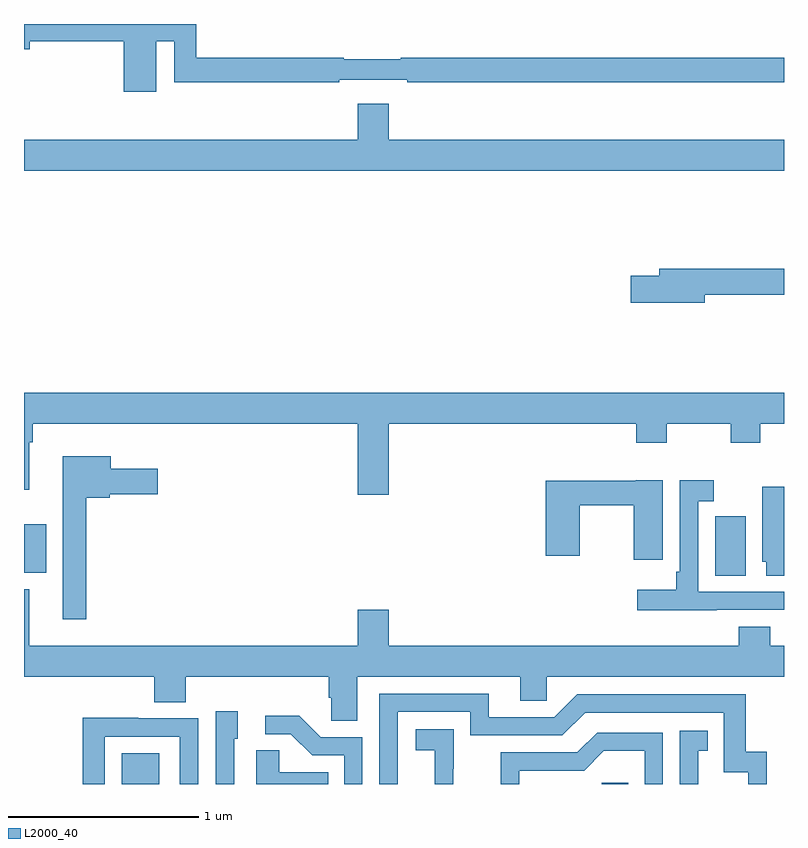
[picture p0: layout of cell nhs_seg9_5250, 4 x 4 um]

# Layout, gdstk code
import gdstk
lib = gdstk.Library(unit=1e-6, precision=1e-09)
def R(c, l, rs):  # rectangles x0, y0, x1, y1
    for r in rs: c.add(gdstk.rectangle(r[:2], r[2:], *l))
def P(c, l, *ps):  # polygons
    for p in ps: c.add(gdstk.Polygon(p, *l))
L2000_40 = (2000, 40)

nhs_seg9_5250 = lib.new_cell('nhs_seg9_5250')
R(nhs_seg9_5250, L2000_40, [(415.514,1218.5,415.711,1218.661), (418.041,1218.5,418.181,1218.507), (418.637,1219.597,418.798,1219.908), (415,1219.613,415.117,1219.867)])
P(nhs_seg9_5250, L2000_40, [(415.696,1222.408),(415.791,1222.408),(415.791,1222.194),(416.66,1222.194),(416.66,1222.206),(417.016,1222.206),(417.016,1222.194),(419,1222.194),(419,1222.322),(416.984,1222.322),(416.984,1222.315),(416.684,1222.315),(416.684,1222.322),(415.907,1222.322),(415.907,1222.5),(415,1222.5),(415,1222.366),(415.03,1222.366),(415.03,1222.408),(415.526,1222.408),(415.526,1222.143),(415.696,1222.143)],
  [(419,1221.892),(416.92,1221.892),(416.92,1222.081),(416.756,1222.081),(416.756,1221.892),(415,1221.892),(415,1221.728),(419,1221.728)],
  [(418.582,1221.076),(419,1221.076),(419,1221.212),(418.343,1221.212),(418.343,1221.176),(418.194,1221.176),(418.194,1221.034),(418.582,1221.034)],
  [(416.92,1220.396),(418.223,1220.396),(418.223,1220.297),(418.383,1220.297),(418.383,1220.396),(418.72,1220.396),(418.72,1220.297),(418.875,1220.297),(418.875,1220.396),(419,1220.396),(419,1220.56),(415,1220.56),(415,1220.049),(415.027,1220.049),(415.027,1220.3),(415.045,1220.3),(415.045,1220.396),(416.756,1220.396),(416.756,1220.022),(416.92,1220.022)],
  [(415.327,1220.006),(415.452,1220.006),(415.452,1220.024),(415.705,1220.024),(415.705,1220.158),(415.456,1220.158),(415.456,1220.224),(415.205,1220.224),(415.205,1219.368),(415.327,1219.368)],
  [(418.645,1219.416),(419,1219.416),(419,1219.512),(418.548,1219.512),(418.548,1219.989),(418.63,1219.989),(418.63,1220.098),(418.452,1220.098),(418.452,1219.618),(418.432,1219.618),(418.432,1219.522),(418.227,1219.522),(418.227,1219.415),(418.645,1219.415)],
  [(418.363,1220.098),(418.221,1220.098),(418.221,1220.095),(417.746,1220.095),(417.746,1219.701),(417.924,1219.701),(417.924,1219.966),(418.21,1219.966),(418.21,1219.68),(418.363,1219.68)],
  [(419,1220.065),(418.886,1220.065),(418.886,1219.671),(418.907,1219.671),(418.907,1219.597),(419,1219.597)],
  [(416.755,1219.064),(417.611,1219.064),(417.611,1218.937),(417.75,1218.937),(417.75,1219.064),(419,1219.064),(419,1219.228),(418.928,1219.228),(418.928,1219.327),(418.763,1219.327),(418.763,1219.228),(416.92,1219.228),(416.92,1219.417),(416.756,1219.417),(416.756,1219.228),(415.027,1219.228),(415.027,1219.525),(415,1219.525),(415,1219.064),(415.685,1219.064),(415.685,1218.931),(415.85,1218.931),(415.85,1219.064),(416.603,1219.064),(416.603,1218.955),(416.616,1218.955),(416.616,1218.832),(416.755,1218.832)],
  [(416.967,1218.879),(417.348,1218.879),(417.348,1218.756),(417.834,1218.756),(417.954,1218.876),(418.683,1218.876),(418.683,1218.561),(418.812,1218.561),(418.812,1218.5),(418.91,1218.5),(418.91,1218.67),(418.799,1218.67),(418.799,1218.972),(417.912,1218.972),(417.792,1218.852),(417.445,1218.852),(417.445,1218.975),(416.871,1218.975),(416.871,1218.5),(416.967,1218.5)],
  [(416.106,1218.738),(416.125,1218.738),(416.125,1218.883),(416.01,1218.883),(416.01,1218.5),(416.106,1218.5)],
  [(416.781,1218.747),(416.562,1218.747),(416.449,1218.86),(416.271,1218.86),(416.271,1218.762),(416.405,1218.762),(416.516,1218.651),(416.685,1218.651),(416.685,1218.5),(416.781,1218.5)],
  [(415.425,1218.75),(415.821,1218.75),(415.821,1218.5),(415.917,1218.5),(415.917,1218.846),(415.601,1218.846),(415.601,1218.848),(415.309,1218.848),(415.309,1218.5),(415.425,1218.5)],
  [(417.26,1218.581),(417.261,1218.581),(417.261,1218.787),(417.063,1218.787),(417.063,1218.677),(417.161,1218.677),(417.161,1218.5),(417.26,1218.5)],
  [(418.549,1218.675),(418.598,1218.675),(418.598,1218.781),(418.452,1218.781),(418.452,1218.5),(418.549,1218.5)],
  [(417.606,1218.57),(417.948,1218.57),(418.052,1218.674),(418.266,1218.674),(418.266,1218.5),(418.362,1218.5),(418.362,1218.771),(418.016,1218.771),(417.911,1218.666),(417.508,1218.666),(417.508,1218.5),(417.606,1218.5)],
  [(416.6,1218.562),(416.343,1218.562),(416.343,1218.677),(416.222,1218.677),(416.222,1218.5),(416.6,1218.5)])

lib.write_gds('nhs_seg9_5250.gds')
